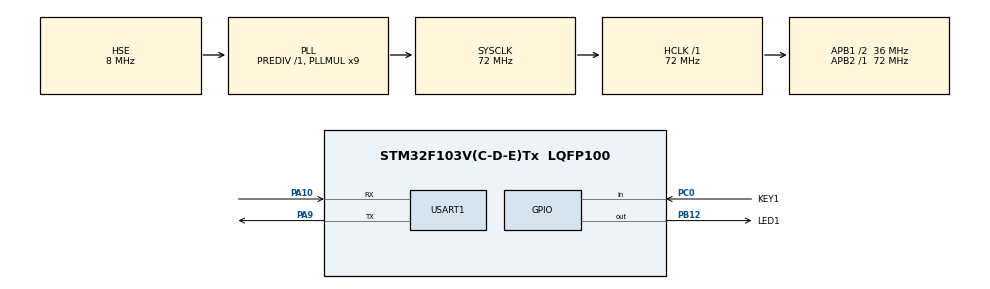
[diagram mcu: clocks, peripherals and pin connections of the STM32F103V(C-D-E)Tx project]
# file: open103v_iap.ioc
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Mcu.Family=STM32F1
Mcu.Name=STM32F103V(C-D-E)Tx
Mcu.Package=LQFP100
NVIC.PriorityGroup=NVIC_PRIORITYGROUP_4
OSC_IN.Mode=HSE-External-Oscillator
OSC_IN.Signal=RCC_OSC_IN
OSC_OUT.Mode=HSE-External-Oscillator
OSC_OUT.Signal=RCC_OSC_OUT
PA10.Mode=Asynchronous
PA10.Signal=USART1_RX
PA13.Mode=Serial_Wire
PA13.Signal=SYS_JTMS-SWDIO
PA14.Mode=Serial_Wire
PA14.Signal=SYS_JTCK-SWCLK
PA9.Mode=Asynchronous
PA9.Signal=USART1_TX
PB12.GPIO_Label=LED1
PB12.Signal=GPIO_Output
PC0.GPIO_Label=KEY1
PC0.Signal=GPIO_Input
ProjectManager.HeapSize=0x200
ProjectManager.StackSize=0x400
ProjectManager.TargetToolchain=STM32CubeIDE
RCC.AHBFreq_Value=72000000
RCC.APB1CLKDivider=RCC_HCLK_DIV2
RCC.APB1Freq_Value=36000000
RCC.APB1TimFreq_Value=72000000
RCC.APB2Freq_Value=72000000
RCC.APB2TimFreq_Value=72000000
RCC.HCLKFreq_Value=72000000
RCC.PLLMUL=RCC_PLL_MUL9
RCC.PLLSourceVirtual=RCC_PLLSOURCE_HSE
RCC.SYSCLKFreq_VALUE=72000000
RCC.SYSCLKSource=RCC_SYSCLKSOURCE_PLLCLK
RCC.USBFreq_Value=72000000
USART1.VirtualMode=VM_ASYNC
board=custom

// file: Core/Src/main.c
/* USER CODE BEGIN Header */
/**
  ******************************************************************************
  * @file           : main.c
  * @brief          : Main program body
  ******************************************************************************
  * @attention
  *
  * <h2><center>&copy; Copyright (c) 2023 STMicroelectronics.
  * All rights reserved.</center></h2>
  *
  * This software component is licensed by ST under BSD 3-Clause license,
  * the "License"; You may not use this file except in compliance with the
  * License. You may obtain a copy of the License at:
  *                        opensource.org/licenses/BSD-3-Clause
  *
  ******************************************************************************
  */
/* USER CODE END Header */
#include "main.h"

/* USER CODE BEGIN Includes */
//#include <stdio.h>
#include "common.h"
#include "menu.h"

/* USER CODE END Includes */

UART_HandleTypeDef huart1;

/* USER CODE BEGIN PV */
UART_HandleTypeDef UartHandle;

extern pFunction JumpToApplication;
extern uint32_t JumpAddress;
/* USER CODE END PV */

void SystemClock_Config(void);
static void MX_GPIO_Init(void);
static void MX_USART1_UART_Init(void);
/* USER CODE BEGIN PFP */
static void IAP_UART_Init(void);
/* USER CODE END PFP */

/* USER CODE BEGIN 0 */
int _write(int file, char *ptr, int len)
{
  int DataIdx;

  for (DataIdx = 0; DataIdx < len; DataIdx++)
  {
    //__io_putchar(*ptr++);
    HAL_UART_Transmit(&huart1, (uint8_t *)ptr++, 1, 0xFFFF);
  }
  return len;
}
/* USER CODE END 0 */

int main(void)
{

  /* MCU Configuration--------------------------------------------------------*/

  /* Reset of all peripherals, Initializes the Flash interface and the Systick. */
  HAL_Init();

  /* Configure the system clock */
  SystemClock_Config();

  /* Initialize all configured peripherals */
  MX_GPIO_Init();
  MX_USART1_UART_Init();
  /* USER CODE BEGIN 2 */
  IAP_UART_Init();
#if 1
  if(HAL_GPIO_ReadPin(KEY1_GPIO_Port, KEY1_Pin) == GPIO_PIN_RESET)
  {
    FLASH_If_Init();
    Main_Menu();
  }
  else
  {
    //if (((*(__IO uint32_t*)APPLICATION_ADDRESS) & 0x2FFFEA000 ) == 0x20000000)
    //if (((*(__IO uint32_t*)APPLICATION_ADDRESS) & 0x2FFFB000 ) == 0x20000000)  // Error Code
    //if (((*(__IO uint32_t*)APPLICATION_ADDRESS) & 0x2FFE0000 ) == 0x20000000)  // MSP:0x20010000, RAM 64Kbytes
    if (((*(__IO uint32_t*)APPLICATION_ADDRESS) & 0x2FFF3000 ) == 0x20000000)    // MSP:0x2000C000, RAM 48Kbytes
    {
      /* Jump to user application */
      JumpAddress = *(__IO uint32_t*) (APPLICATION_ADDRESS + 4);
      JumpToApplication = (pFunction) JumpAddress;
      /* Initialize user application's Stack Pointer */
      __set_MSP(*(__IO uint32_t*) APPLICATION_ADDRESS);
      JumpToApplication();
    }
  }
#endif
  /* USER CODE END 2 */

  /* Infinite loop */
  while (1)
  {

    /* USER CODE BEGIN 3 */
    HAL_GPIO_TogglePin(LED1_GPIO_Port, LED1_Pin);
    //printf("Hello IAP!!\r\n");
    Serial_PutString((uint8_t *)"IAP AN4657!\r\n");
    HAL_Delay(1000);
  }
  /* USER CODE END 3 */
}

void SystemClock_Config(void)
{
  RCC_OscInitTypeDef RCC_OscInitStruct = {0};
  RCC_ClkInitTypeDef RCC_ClkInitStruct = {0};

  /** Initializes the RCC Oscillators according to the specified parameters
  * in the RCC_OscInitTypeDef structure.
  */
  RCC_OscInitStruct.OscillatorType = RCC_OSCILLATORTYPE_HSE;
  RCC_OscInitStruct.HSEState = RCC_HSE_ON;
  RCC_OscInitStruct.HSEPredivValue = RCC_HSE_PREDIV_DIV1;
  RCC_OscInitStruct.HSIState = RCC_HSI_ON;
  RCC_OscInitStruct.PLL.PLLState = RCC_PLL_ON;
  RCC_OscInitStruct.PLL.PLLSource = RCC_PLLSOURCE_HSE;
  RCC_OscInitStruct.PLL.PLLMUL = RCC_PLL_MUL9;
  if (HAL_RCC_OscConfig(&RCC_OscInitStruct) != HAL_OK)
  {
    Error_Handler();
  }
  /** Initializes the CPU, AHB and APB buses clocks
  */
  RCC_ClkInitStruct.ClockType = RCC_CLOCKTYPE_HCLK|RCC_CLOCKTYPE_SYSCLK
                              |RCC_CLOCKTYPE_PCLK1|RCC_CLOCKTYPE_PCLK2;
  RCC_ClkInitStruct.SYSCLKSource = RCC_SYSCLKSOURCE_PLLCLK;
  RCC_ClkInitStruct.AHBCLKDivider = RCC_SYSCLK_DIV1;
  RCC_ClkInitStruct.APB1CLKDivider = RCC_HCLK_DIV2;
  RCC_ClkInitStruct.APB2CLKDivider = RCC_HCLK_DIV1;

  if (HAL_RCC_ClockConfig(&RCC_ClkInitStruct, FLASH_LATENCY_2) != HAL_OK)
  {
    Error_Handler();
  }
}

static void MX_USART1_UART_Init(void)
{

  huart1.Instance = USART1;
  huart1.Init.BaudRate = 115200;
  huart1.Init.WordLength = UART_WORDLENGTH_8B;
  huart1.Init.StopBits = UART_STOPBITS_1;
  huart1.Init.Parity = UART_PARITY_NONE;
  huart1.Init.Mode = UART_MODE_TX_RX;
  huart1.Init.HwFlowCtl = UART_HWCONTROL_NONE;
  huart1.Init.OverSampling = UART_OVERSAMPLING_16;
  if (HAL_UART_Init(&huart1) != HAL_OK)
  {
    Error_Handler();
  }

}

static void MX_GPIO_Init(void)
{
  GPIO_InitTypeDef GPIO_InitStruct = {0};

  /* GPIO Ports Clock Enable */
  __HAL_RCC_GPIOC_CLK_ENABLE();
  __HAL_RCC_GPIOB_CLK_ENABLE();
  __HAL_RCC_GPIOA_CLK_ENABLE();

  /*Configure GPIO pin Output Level */
  HAL_GPIO_WritePin(LED1_GPIO_Port, LED1_Pin, GPIO_PIN_RESET);

  /*Configure GPIO pin : KEY1_Pin */
  GPIO_InitStruct.Pin = KEY1_Pin;
  GPIO_InitStruct.Mode = GPIO_MODE_INPUT;
  GPIO_InitStruct.Pull = GPIO_NOPULL;
  HAL_GPIO_Init(KEY1_GPIO_Port, &GPIO_InitStruct);

  /*Configure GPIO pin : LED1_Pin */
  GPIO_InitStruct.Pin = LED1_Pin;
  GPIO_InitStruct.Mode = GPIO_MODE_OUTPUT_PP;
  GPIO_InitStruct.Pull = GPIO_NOPULL;
  GPIO_InitStruct.Speed = GPIO_SPEED_FREQ_LOW;
  HAL_GPIO_Init(LED1_GPIO_Port, &GPIO_InitStruct);

}

/* USER CODE BEGIN 4 */
static void IAP_UART_Init(void)
{

  /* USER CODE END USART2_Init 1 */
  UartHandle.Instance = USART1;
  UartHandle.Init.BaudRate = 115200;
  UartHandle.Init.WordLength = UART_WORDLENGTH_8B;
  UartHandle.Init.StopBits = UART_STOPBITS_1;
  UartHandle.Init.Parity = UART_PARITY_NONE;
  UartHandle.Init.Mode = UART_MODE_TX_RX;
  UartHandle.Init.HwFlowCtl = UART_HWCONTROL_NONE;
  UartHandle.Init.OverSampling = UART_OVERSAMPLING_16;
  if (HAL_UART_Init(&UartHandle) != HAL_OK)
  {
    Error_Handler();
  }

}
/* USER CODE END 4 */

void Error_Handler(void)
{
  __disable_irq();
  while (1)
  {
  }
}

/************************ (C) COPYRIGHT STMicroelectronics *****END OF FILE****/
